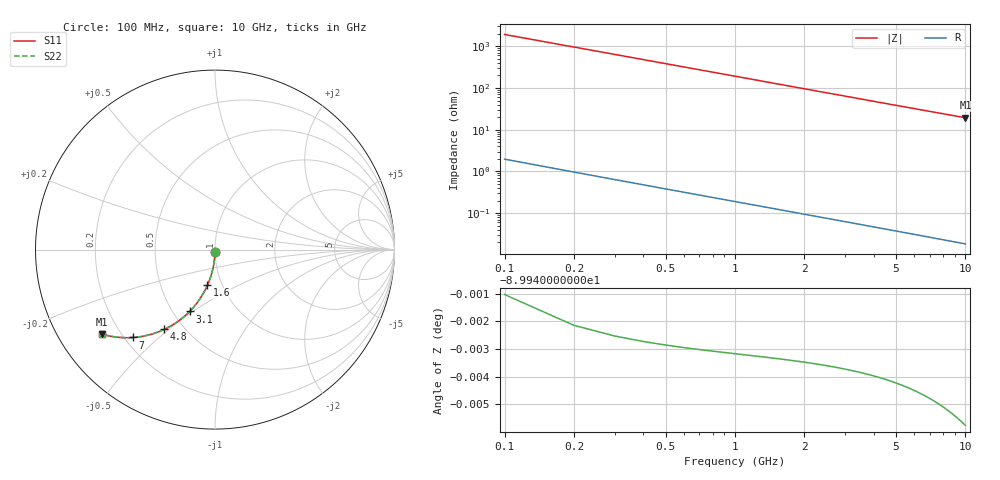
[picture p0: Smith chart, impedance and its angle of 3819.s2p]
# Hz S RI R 50.00
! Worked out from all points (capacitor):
!   100 points, 100 MHz to 10 GHz, reference 50 ohm
!   read as one part in shunt: C = 832 fF near 100 MHz
!   lowest |Z| = 19.4 ohm at 10 GHz (marker M1)
!   S11 on the Smith chart (normalised r, x): 100 MHz: 1.00, -0.03; 1.6 GHz: 0.85, -0.35; 3.1 GHz: 0.61, -0.48; 4.8 GHz: 0.39, -0.48; 7 GHz: 0.23, -0.41; 10 GHz: 0.13, -0.33
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1e8  -0.000149 -0.013  0.9998 -0.0132  0.9998 -0.0132  -0.000149 -0.013
2e8  -0.000673 -0.0259  0.9993 -0.0263  0.9993 -0.0263  -0.000673 -0.0259
3e8  -0.00154 -0.0388  0.9984 -0.0395  0.9984 -0.0395  -0.00154 -0.0388
4e8  -0.00274 -0.0517  0.9972 -0.0526  0.9972 -0.0526  -0.00274 -0.0517
5e8  -0.00428 -0.0645  0.9956 -0.0656  0.9956 -0.0656  -0.00428 -0.0645
6e8  -0.00615 -0.0773  0.9938 -0.0786  0.9938 -0.0786  -0.00615 -0.0773
7e8  -0.00835 -0.0899  0.9916 -0.0915  0.9916 -0.0915  -0.00835 -0.0899
9e8  -0.0137 -0.115  0.9862 -0.117  0.9862 -0.117  -0.0137 -0.115
1.2e9  -0.0241 -0.1517  0.9758 -0.1544  0.9758 -0.1544  -0.0241 -0.1517
1.6e9  -0.042 -0.1985  0.9579 -0.2021  0.9579 -0.2021  -0.042 -0.1985
1.8e9  -0.0526 -0.2208  0.9473 -0.2249  0.9473 -0.2249  -0.0526 -0.2208
2.4e9  -0.0898 -0.2827  0.9101 -0.2881  0.9101 -0.2881  -0.0898 -0.2827
3.1e9  -0.1413 -0.3443  0.8586 -0.3513  0.8586 -0.3513  -0.1413 -0.3443
3.4e9  -0.1652 -0.367  0.8347 -0.3747  0.8347 -0.3747  -0.1652 -0.367
4.1e9  -0.2234 -0.4114  0.7765 -0.4207  0.7765 -0.4207  -0.2234 -0.4114
4.8e9  -0.2828 -0.4444  0.7171 -0.4553  0.7171 -0.4553  -0.2828 -0.4444
5.1e9  -0.308 -0.4554  0.6918 -0.467  0.6918 -0.467  -0.308 -0.4554
5.9e9  -0.3734 -0.4765  0.6265 -0.49  0.6265 -0.49  -0.3734 -0.4765
6.7e9  -0.4346 -0.4875  0.5652 -0.5029  0.5652 -0.5029  -0.4346 -0.4875
7e9  -0.4563 -0.4896  0.5435 -0.5056  0.5435 -0.5056  -0.4563 -0.4896
8.4e9  -0.5474 -0.4875  0.4523 -0.5069  0.4523 -0.5069  -0.5474 -0.4875
1e10  -0.6319 -0.4701  0.3677 -0.4933  0.3677 -0.4933  -0.6319 -0.4701
